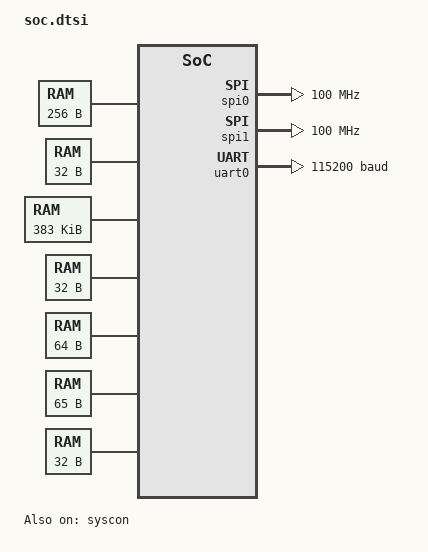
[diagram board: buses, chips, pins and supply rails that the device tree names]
/* Copyright 2025 The ChromiumOS Authors.
 * Use of this source code is governed by a BSD-style license that can be
 * found in the LICENSE file.
 */

#include <cros/egis/et171.dtsi>

/delete-node/ &sram;

/ {
	chosen {
		cros-ec,bbram = &bbram;
	};

	sdcp: memory@0 {
		device_type = "memory";
		compatible = "mmio-sram";
		reg = <0x00000000 256>;
	};

	memory@100 {
		compatible = "zephyr,memory-region", "mmio-sram";
		reg = <0x100 32>;
		zephyr,memory-region = "RetainedMem";
		status = "okay";

		bbram: retained-ram {
			compatible = "zephyr,retained-ram";
			status = "okay";
			#address-cells = <1>;
			#size-cells = <1>;
		};
	};

	sram: memory@400 {
		device_type = "memory";
		compatible = "mmio-sram";
		/* Round down to kB, because the SRAM_SIZE config uses kB as SRAM
		 * size
		 */
		reg = <0x00000400 DT_SIZE_K(383)>;
	};

	sdcp_h_f: memory@90000000 {
		device_type = "memory";
		compatible = "mmio-sram";
		reg = <0x90000000 32>;
	};

	sdcp_s_d: memory@90000020 {
		device_type = "memory";
		compatible = "mmio-sram";
		reg = <0x90000020 64>;
	};

	sdcp_pk_f: memory@90000060 {
		device_type = "memory";
		compatible = "mmio-sram";
		reg = <0x90000060 65>;
	};

	sdcp_sk_f: memory@900000a1 {
		device_type = "memory";
		compatible = "mmio-sram";
		reg = <0x900000a1 32>;
	};
};

&spi0 {
	status = "okay";
	clock-frequency = <100000000>;
};

&spi1 {
	status = "okay";
	clock-frequency = <100000000>;
};

&syscon {
	status = "okay";
};

&uart0 {
	status = "okay";
	current-speed = <115200>;
	/delete-property/ clock-frequency;
};

&clock {
	ahb-divide = <2>;
	apb-divide = <1>;
};
